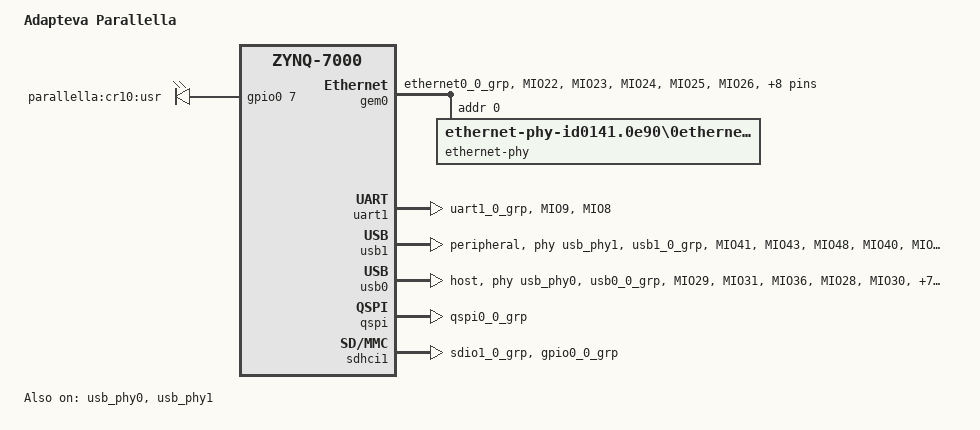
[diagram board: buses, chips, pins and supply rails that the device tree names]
/*
 * Copyright (c) 2014 SUSE LINUX Products GmbH
 * Copyright (c) 2015 SUSE Linux GmbH
 * Copyright (c) 2015 Adapteva Inc.
 * Copyright (c) 2022 Ola Jeppsson
 *
 * This software is licensed under the terms of the GNU General Public
 * License version 2, as published by the Free Software Foundation, and
 * may be copied, distributed, and modified under those terms.
 *
 * This program is distributed in the hope that it will be useful,
 * but WITHOUT ANY WARRANTY; without even the implied warranty of
 * MERCHANTABILITY or FITNESS FOR A PARTICULAR PURPOSE.  See the
 * GNU General Public License for more details.
 */

/ {
	compatible = "adapteva,parallella", "xlnx,zynq-7000";
	model = "Adapteva Parallella";

	aliases {
		ethernet0 = &gem0;
		serial0 = &uart1;
	};

	chosen {
		bootargs = "console=ttyPS0,115200 root=/dev/mmcblk0p2 rootfstype=ext4 rw rootwait";
		linux,stdout-path = "/amba/serial@e0001000";
	};

	leds {
		compatible = "gpio-leds";

		cr10 {
			label = "parallella:cr10:usr";
			gpios = <&gpio0 7 0x0>;
			default-state = "on";
		};
	};

	axi {
        gem0: ethernet@e000b000 {
			status = "okay";
            pinctrl-names = "default";
            pinctrl-0 = <&pinctrl_gem0_default>;
            ethernet-phy@0 {
            	/* Marvell 88E1318 */
				compatible = "ethernet-phy-id0141.0e90\0ethernet-phy-ieee802.3-c22";
				reg = <0x00>;
				device_type = "ethernet-phy";
				marvell,reg-init = <0x03 0x10 0xff00 0x1e 0x03 0x11 0xfff0 0x0a>;
			};
		};

		uart1: serial@e0001000 {
			compatible = "xlnx,xuartps\0cdns,uart-r1p8";
			status = "okay";
			cdns,rx-no-pullup;
		};

        usb1: usb@e0003000 {
			compatible = "invalid";
			status = "okay";
			dr_mode = "peripheral";
			usb-phy = <&usb_phy1>;
            pinctrl-names = "default";
	        pinctrl-0 = <&pinctrl_usb1_default>;
		};

        usb0: usb@e0002000 {
			compatible = "xlnx,zynq-usb-2.20a\0chipidea,usb2\0xlnx,ps7-usb-1.00.a\0xlnx,zynq-usb-1.00.a";
			status = "okay";
			dr_mode = "host";
			usb-phy = <&usb_phy0>;
            pinctrl-names = "default";
	        pinctrl-0 = <&pinctrl_usb0_default>;
		};
	};

usb_phy0: phy0 {
    compatible = "ulpi-phy";
    #phy-cells = <0>;
    status = "okay";
    reg = <0xe0002000 0x1000>;
    view-port = <0x170>;
    drv-vbus;
    };

usb_phy1: phy1 {
    compatible = "ulpi-phy";
    #phy-cells = <0>;
    status = "okay";
    reg = <0xe0003000 0x1000>;
    view-port = <0x170>;
    drv-vbus;
    };
};

&gpio0 {
	pinctrl-names = "default";
	pinctrl-0 = <&pinctrl_gpio0_default>;
};

&pinctrl0 {
	pinctrl_gem0_default: gem0-default {
		mux {
			function = "ethernet0";
			groups = "ethernet0_0_grp";
		};

		conf {
			groups = "ethernet0_0_grp";
			slew-rate = <0>;
			io-standard = <1>;
		};

		conf-rx {
			pins = "MIO22", "MIO23", "MIO24", "MIO25", "MIO26", "MIO27";
			bias-high-impedance;
			low-power-disable;
		};

		conf-tx {
			pins = "MIO16", "MIO17", "MIO18", "MIO19", "MIO20", "MIO21";
			bias-disable;
			low-power-enable;
		};

		mux-mdio {
			function = "mdio0";
			groups = "mdio0_0_grp";
		};

		conf-mdio {
			groups = "mdio0_0_grp";
			slew-rate = <0>;
			io-standard = <1>;
			bias-disable;
		};
	};

	pinctrl_gpio0_default: gpio0-default {
		mux {
			function = "gpio0";
			groups = "gpio0_7_grp";
		};

		conf {
			groups = "gpio0_7_grp";
			slew-rate = <0>;
			io-standard = <3>;
		};

		conf-pull-up {
			pins = "MIO7";
			bias-pull-up;
		};
	};

	pinctrl_qspi0_default: qspi0-default {
		mux {
			function = "qspi0";
			groups = "qspi0_0_grp";
		};

		conf {
			groups = "qspi0_0_grp";
			io-standard = <3>;
		};
	};

	pinctrl_sdhci1_default: sdhci1-default {
		mux {
			function = "sdio1";
			groups = "sdio1_0_grp";
		};

		conf {
			groups = "sdio1_0_grp";
			slew-rate = <0>;
			io-standard = <1>;
			bias-disable;
		};

		mux-cd {
			function = "sdio1_cd";
			groups = "gpio0_0_grp";
		};

		conf-cd {
			groups = "gpio0_0_grp";
			bias-high-impedance;
			bias-pull-up;
			slew-rate = <0>;
			io-standard = <3>;
		};
	};

	pinctrl_uart1_default: uart1-default {
		mux {
			function = "uart1";
			groups = "uart1_0_grp";
		};

		conf {
			groups = "uart1_0_grp";
			slew-rate = <0>;
			io-standard = <3>;
		};

		conf-rx {
			pins = "MIO9";
			bias-high-impedance;
		};

		conf-tx {
			pins = "MIO8";
			bias-disable = <0>;
		};
	};

	pinctrl_usb0_default: usb0-default {
		mux {
			function = "usb0";
			groups = "usb0_0_grp";
		};

		conf {
			groups = "usb0_0_grp";
			slew-rate = <0>;
			io-standard = <1>;
		};

		conf-rx {
			pins = "MIO29", "MIO31", "MIO36";
			bias-high-impedance;
		};

		conf-tx {
			pins = "MIO28", "MIO30", "MIO32", "MIO33", "MIO34",
			       "MIO35", "MIO37", "MIO38", "MIO39";
			bias-disable;
		};
	};

	pinctrl_usb1_default: usb1-default {
		mux {
			function = "usb1";
			groups = "usb1_0_grp";
		};

		conf {
			groups = "usb1_0_grp";
			slew-rate = <0>;
			io-standard = <1>;
		};

		conf-rx {
			pins = "MIO41", "MIO43", "MIO48";
			bias-high-impedance;
		};

		conf-tx {
			pins = "MIO40", "MIO42", "MIO44", "MIO45", "MIO46",
			       "MIO47", "MIO49", "MIO50", "MIO51";
			bias-disable;
		};
	};
};

&qspi {
	pinctrl-names = "default";
	pinctrl-0 = <&pinctrl_qspi0_default>;
};

&sdhci1 {
	pinctrl-names = "default";
	pinctrl-0 = <&pinctrl_sdhci1_default>;
};

&uart1 {
	pinctrl-names = "default";
	pinctrl-0 = <&pinctrl_uart1_default>;
};
